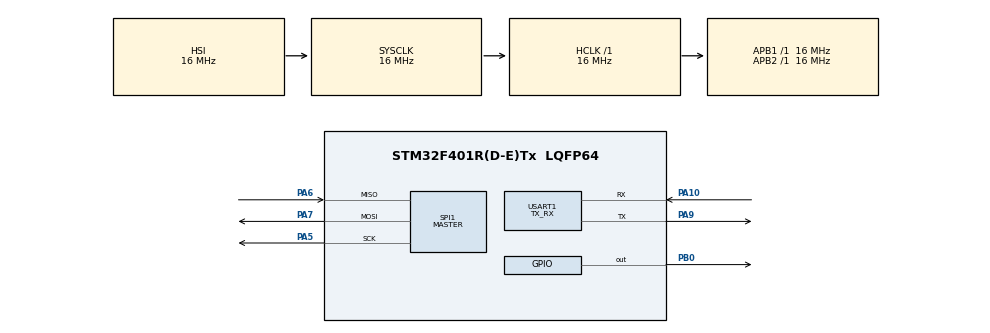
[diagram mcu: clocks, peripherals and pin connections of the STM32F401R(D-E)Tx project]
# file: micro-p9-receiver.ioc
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Mcu.Family=STM32F4
Mcu.Name=STM32F401R(D-E)Tx
Mcu.Package=LQFP64
NVIC.PriorityGroup=NVIC_PRIORITYGROUP_4
NVIC.USART1_IRQn=true\:0\:0\:false\:false\:true\:true\:true
PA10.Mode=Asynchronous
PA10.Signal=USART1_RX
PA5.Mode=Full_Duplex_Master
PA5.Signal=SPI1_SCK
PA6.Mode=Full_Duplex_Master
PA6.Signal=SPI1_MISO
PA7.Mode=Full_Duplex_Master
PA7.Signal=SPI1_MOSI
PA9.Mode=Asynchronous
PA9.Signal=USART1_TX
PB0.GPIO_PuPd=GPIO_PULLUP
PB0.Signal=GPIO_Output
ProjectManager.HeapSize=0x200
ProjectManager.StackSize=0x400
ProjectManager.TargetToolchain=MDK-ARM V5
RCC.AHBFreq_Value=16000000
RCC.APB1Freq_Value=16000000
RCC.APB2Freq_Value=16000000
RCC.CortexFreq_Value=16000000
RCC.HSE_VALUE=25000000
RCC.HSI_VALUE=16000000
RCC.LSE_VALUE=32768
RCC.SYSCLKFreq_VALUE=16000000
RCC.VCOOutputFreq_Value=192000000
SPI1.BaudRatePrescaler=SPI_BAUDRATEPRESCALER_16
SPI1.DataSize=SPI_DATASIZE_8BIT
SPI1.Direction=SPI_DIRECTION_2LINES
SPI1.FirstBit=SPI_FIRSTBIT_MSB
SPI1.Mode=SPI_MODE_MASTER
SPI1.VirtualType=VM_MASTER
USART1.Mode=MODE_TX_RX
USART1.VirtualMode=VM_ASYNC
board=custom

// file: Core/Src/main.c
/* USER CODE BEGIN Header */
/**
  ******************************************************************************
  * @file           : main.c
  * @brief          : Main program body
  ******************************************************************************
  * @attention
  *
  * Copyright (c) 2022 STMicroelectronics.
  * All rights reserved.
  *
  * This software is licensed under terms that can be found in the LICENSE file
  * in the root directory of this software component.
  * If no LICENSE file comes with this software, it is provided AS-IS.
  *
  ******************************************************************************
  */
/* USER CODE END Header */
#include "main.h"

/* USER CODE BEGIN Includes */
#include <string.h>
#include <stdio.h>
/* USER CODE END Includes */

SPI_HandleTypeDef hspi1;

UART_HandleTypeDef huart1;

/* USER CODE BEGIN PV */
char ubuff[2];
/* USER CODE END PV */

void SystemClock_Config(void);
static void MX_GPIO_Init(void);
static void MX_SPI1_Init(void);
static void MX_USART1_UART_Init(void);

/* USER CODE BEGIN 0 */
void sendStr(char* string){
	HAL_UART_Transmit(&huart1,(uint8_t*) string , strlen(string), HAL_MAX_DELAY);
}

static volatile char left = '0';
static volatile char right = '0';

void HAL_UART_RxCpltCallback(UART_HandleTypeDef *huart){
	if( huart->Instance == USART1 ){
		sendStr(ubuff);
		left  = ubuff[0];
		right = ubuff[1];
		HAL_UART_Receive_IT(&huart1, (uint8_t*) ubuff, 2);

	}
}
void apply(uint8_t command, uint8_t data){
		HAL_GPIO_WritePin(GPIOB, GPIO_PIN_0, GPIO_PIN_RESET);
		HAL_SPI_Transmit(&hspi1, &command, 1, HAL_MAX_DELAY);
		HAL_SPI_Transmit(&hspi1, &data, 1, HAL_MAX_DELAY);
		HAL_GPIO_WritePin(GPIOB, GPIO_PIN_0, GPIO_PIN_SET);
}
void init_device(){
	apply(0xC, 0x1);  // Turn On
	apply(0xA, 0xF);  // Set Intensity
	apply(0xB, 0x1);  // 2 Digits
	apply(0x9, 0xFF); // Decoding
}

void set_digit_0(uint8_t data){
	apply(0x1, data);
}
void set_digit_1(uint8_t data){
	apply(0x2, data);
}

/* USER CODE END 0 */

int main(void)
{

  /* MCU Configuration--------------------------------------------------------*/

  /* Reset of all peripherals, Initializes the Flash interface and the Systick. */
  HAL_Init();

  /* Configure the system clock */
  SystemClock_Config();

  /* Initialize all configured peripherals */
  MX_GPIO_Init();
  MX_SPI1_Init();
  MX_USART1_UART_Init();
  /* USER CODE BEGIN 2 */
	init_device();
	NVIC_EnableIRQ(USART1_IRQn);
	HAL_UART_Receive_IT(&huart1, (uint8_t*) ubuff, 2);

  /* USER CODE END 2 */

  /* Infinite loop */
  /* USER CODE BEGIN WHILE */
  while (1)
  {
			set_digit_0(left);
			set_digit_1(right);
			HAL_Delay(101);
    /* USER CODE END WHILE */

  }
}

void SystemClock_Config(void)
{
  RCC_OscInitTypeDef RCC_OscInitStruct = {0};
  RCC_ClkInitTypeDef RCC_ClkInitStruct = {0};

  /** Configure the main internal regulator output voltage
  */
  __HAL_RCC_PWR_CLK_ENABLE();
  __HAL_PWR_VOLTAGESCALING_CONFIG(PWR_REGULATOR_VOLTAGE_SCALE2);
  /** Initializes the RCC Oscillators according to the specified parameters
  * in the RCC_OscInitTypeDef structure.
  */
  RCC_OscInitStruct.OscillatorType = RCC_OSCILLATORTYPE_HSI;
  RCC_OscInitStruct.HSIState = RCC_HSI_ON;
  RCC_OscInitStruct.HSICalibrationValue = RCC_HSICALIBRATION_DEFAULT;
  RCC_OscInitStruct.PLL.PLLState = RCC_PLL_NONE;
  if (HAL_RCC_OscConfig(&RCC_OscInitStruct) != HAL_OK)
  {
    Error_Handler();
  }
  /** Initializes the CPU, AHB and APB buses clocks
  */
  RCC_ClkInitStruct.ClockType = RCC_CLOCKTYPE_HCLK|RCC_CLOCKTYPE_SYSCLK
                              |RCC_CLOCKTYPE_PCLK1|RCC_CLOCKTYPE_PCLK2;
  RCC_ClkInitStruct.SYSCLKSource = RCC_SYSCLKSOURCE_HSI;
  RCC_ClkInitStruct.AHBCLKDivider = RCC_SYSCLK_DIV1;
  RCC_ClkInitStruct.APB1CLKDivider = RCC_HCLK_DIV1;
  RCC_ClkInitStruct.APB2CLKDivider = RCC_HCLK_DIV1;

  if (HAL_RCC_ClockConfig(&RCC_ClkInitStruct, FLASH_LATENCY_0) != HAL_OK)
  {
    Error_Handler();
  }
}

static void MX_SPI1_Init(void)
{

  /* SPI1 parameter configuration*/
  hspi1.Instance = SPI1;
  hspi1.Init.Mode = SPI_MODE_MASTER;
  hspi1.Init.Direction = SPI_DIRECTION_2LINES;
  hspi1.Init.DataSize = SPI_DATASIZE_8BIT;
  hspi1.Init.CLKPolarity = SPI_POLARITY_LOW;
  hspi1.Init.CLKPhase = SPI_PHASE_1EDGE;
  hspi1.Init.NSS = SPI_NSS_SOFT;
  hspi1.Init.BaudRatePrescaler = SPI_BAUDRATEPRESCALER_16;
  hspi1.Init.FirstBit = SPI_FIRSTBIT_MSB;
  hspi1.Init.TIMode = SPI_TIMODE_DISABLE;
  hspi1.Init.CRCCalculation = SPI_CRCCALCULATION_DISABLE;
  hspi1.Init.CRCPolynomial = 10;
  if (HAL_SPI_Init(&hspi1) != HAL_OK)
  {
    Error_Handler();
  }

}

static void MX_USART1_UART_Init(void)
{

  huart1.Instance = USART1;
  huart1.Init.BaudRate = 115200;
  huart1.Init.WordLength = UART_WORDLENGTH_8B;
  huart1.Init.StopBits = UART_STOPBITS_1;
  huart1.Init.Parity = UART_PARITY_NONE;
  huart1.Init.Mode = UART_MODE_TX_RX;
  huart1.Init.HwFlowCtl = UART_HWCONTROL_NONE;
  huart1.Init.OverSampling = UART_OVERSAMPLING_16;
  if (HAL_UART_Init(&huart1) != HAL_OK)
  {
    Error_Handler();
  }

}

static void MX_GPIO_Init(void)
{
  GPIO_InitTypeDef GPIO_InitStruct = {0};

  /* GPIO Ports Clock Enable */
  __HAL_RCC_GPIOA_CLK_ENABLE();
  __HAL_RCC_GPIOB_CLK_ENABLE();

  /*Configure GPIO pin Output Level */
  HAL_GPIO_WritePin(GPIOB, GPIO_PIN_0, GPIO_PIN_RESET);

  /*Configure GPIO pin : PB0 */
  GPIO_InitStruct.Pin = GPIO_PIN_0;
  GPIO_InitStruct.Mode = GPIO_MODE_OUTPUT_PP;
  GPIO_InitStruct.Pull = GPIO_PULLUP;
  GPIO_InitStruct.Speed = GPIO_SPEED_FREQ_LOW;
  HAL_GPIO_Init(GPIOB, &GPIO_InitStruct);

}

void Error_Handler(void)
{
  __disable_irq();
  while (1)
  {
  }
}
